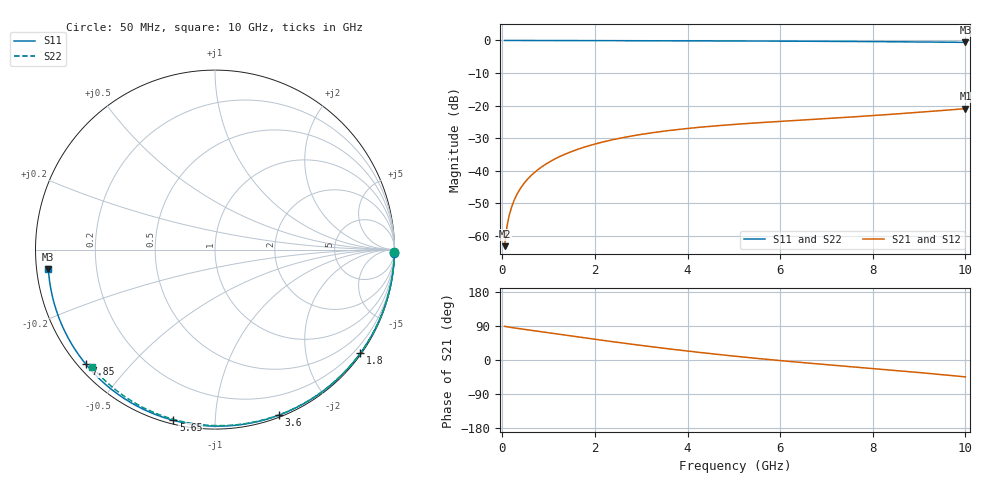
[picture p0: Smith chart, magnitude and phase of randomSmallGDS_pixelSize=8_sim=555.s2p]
! freq	dB(S11)	phase(S11)	dB(S12)	phase(S12)
!  dB(S21)	phase(S21)	dB(S22)	phase(S22)
!S-par simulation data
#  GHz  S  DB  R 50
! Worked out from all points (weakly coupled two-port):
!   200 points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, 50 MHz to 10 GHz, reference 50 ohm
!   highest |S21| = -20.93 dB at 10 GHz (marker M1); lowest = -63.1 dB at 50 MHz (marker M2)
!   lowest |S11| = -0.6 dB at 10 GHz (marker M3), VSWR 29.56, Z = 1.7 - j2.88 ohm
!   |S11| at or under -10 dB: nowhere
!   |S22| runs from -0.5 to 0.0 dB; largest |S21 - S12| = 0
!   S11 on the Smith chart (normalised r, x): 50 MHz: open; 1.8 GHz: 0.03, -3.12; 3.6 GHz: 0.02, -1.46; 5.65 GHz: 0.02, -0.79; 7.85 GHz: 0.02, -0.38; 10 GHz: 0.03, -0.06
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0.05  -0.00 -1.0  -63.11 88.8  -63.11 88.8  -0.00 -0.8
0.1  -0.00 -2.0  -57.11 87.7  -57.11 87.7  -0.00 -1.6
0.15  -0.00 -3.0  -53.62 86.7  -53.62 86.7  -0.00 -2.4
0.2  -0.00 -4.0  -51.15 85.7  -51.15 85.7  -0.00 -3.2
0.35  -0.01 -7.0  -46.36 83.0  -46.36 83.0  -0.00 -5.6
0.5  -0.01 -10.0  -43.31 80.4  -43.31 80.4  -0.01 -8.0
0.7  -0.02 -14.0  -40.44 77.0  -40.44 77.0  -0.01 -11.2
1  -0.03 -20.0  -37.42 71.8  -37.42 71.8  -0.02 -16.0
1.35  -0.04 -26.8  -34.92 65.7  -34.92 65.7  -0.03 -21.5
1.75  -0.05 -34.6  -32.83 58.8  -32.83 58.8  -0.04 -27.7
1.8  -0.05 -35.5  -32.60 58.0  -32.60 58.0  -0.04 -28.5
2.6  -0.07 -50.7  -29.82 44.8  -29.82 44.8  -0.06 -40.7
3.4  -0.09 -65.3  -28.00 32.3  -28.00 32.3  -0.08 -52.6
3.6  -0.10 -68.9  -27.64 29.4  -27.64 29.4  -0.08 -55.5
4.3  -0.12 -81.1  -26.59 19.5  -26.59 19.5  -0.10 -65.4
5.05  -0.15 -93.8  -25.72 9.7  -25.72 9.7  -0.13 -75.7
5.65  -0.18 -103.7  -25.14 2.4  -25.14 2.4  -0.15 -83.7
6.7  -0.25 -120.5  -24.22 -9.1  -24.22 -9.1  -0.20 -97.2
7.85  -0.34 -138.6  -23.19 -21.0  -23.19 -21.0  -0.27 -111.3
8.35  -0.39 -146.4  -22.70 -26.1  -22.70 -26.1  -0.31 -117.3
9.2  -0.48 -160.1  -21.81 -35.3  -21.81 -35.3  -0.39 -127.2
10  -0.59 -173.4  -20.93 -44.6  -20.93 -44.6  -0.48 -136.5
